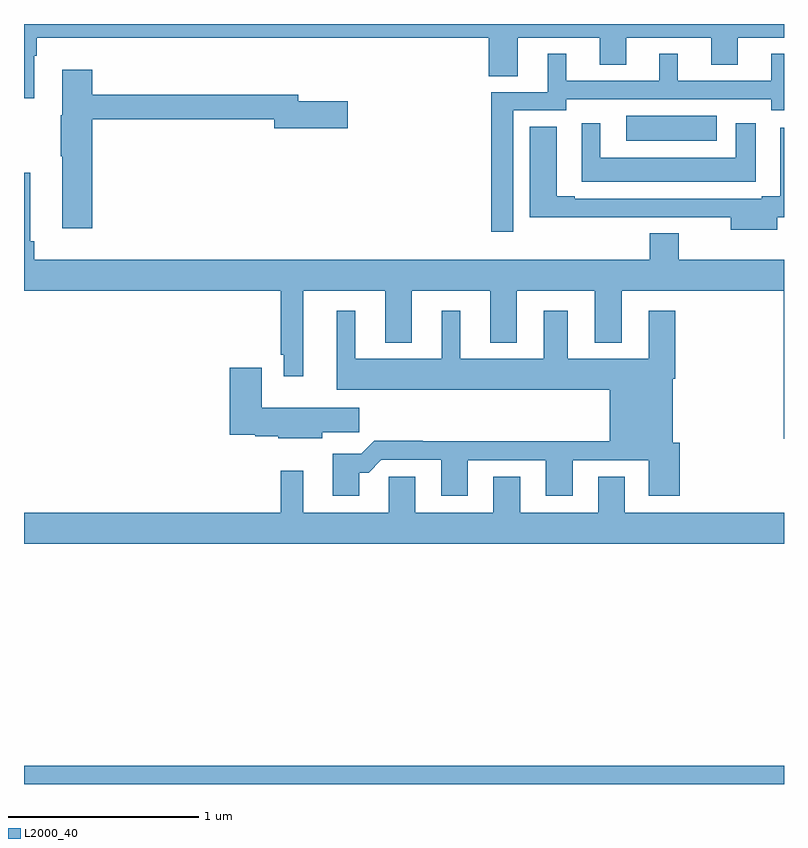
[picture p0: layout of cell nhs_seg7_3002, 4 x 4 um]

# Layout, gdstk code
import gdstk
lib = gdstk.Library(unit=1e-6, precision=1e-09)
def R(c, l, rs):  # rectangles x0, y0, x1, y1
    for r in rs: c.add(gdstk.rectangle(r[:2], r[2:], *l))
def P(c, l, *ps):  # polygons
    for p in ps: c.add(gdstk.Polygon(p, *l))
L2000_40 = (2000, 40)

nhs_seg7_3002 = lib.new_cell('nhs_seg7_3002')
R(nhs_seg7_3002, L2000_40, [(303,1018,307,1018.096), (306.171,1021.385,306.646,1021.516)])
P(nhs_seg7_3002, L2000_40, [(303.055,1021.832),(303.068,1021.832),(303.068,1021.928),(305.447,1021.928),(305.447,1021.726),(305.599,1021.726),(305.599,1021.928),(306.029,1021.928),(306.029,1021.786),(306.169,1021.786),(306.169,1021.928),(306.617,1021.928),(306.617,1021.786),(306.757,1021.786),(306.757,1021.928),(307,1021.928),(307,1022),(303,1022),(303,1021.608),(303.055,1021.608)],
  [(305.574,1021.545),(305.853,1021.545),(305.853,1021.605),(306.933,1021.605),(306.933,1021.545),(307,1021.545),(307,1021.843),(306.932,1021.843),(306.932,1021.701),(306.442,1021.701),(306.442,1021.843),(306.344,1021.843),(306.344,1021.701),(305.854,1021.701),(305.854,1021.843),(305.756,1021.843),(305.756,1021.641),(305.458,1021.641),(305.458,1020.906),(305.574,1020.906)],
  [(303.359,1021.498),(304.316,1021.498),(304.316,1021.451),(304.705,1021.451),(304.705,1021.593),(304.444,1021.593),(304.444,1021.627),(303.359,1021.627),(303.359,1021.759),(303.2,1021.759),(303.2,1021.521),(303.193,1021.521),(303.193,1021.303),(303.2,1021.303),(303.2,1020.924),(303.359,1020.924)],
  [(306.85,1021.477),(306.746,1021.477),(306.746,1021.297),(306.034,1021.297),(306.034,1021.477),(305.936,1021.477),(305.936,1021.169),(306.85,1021.169)],
  [(306.964,1020.982),(307,1020.982),(307,1021.453),(306.98,1021.453),(306.98,1021.093),(306.884,1021.093),(306.884,1021.08),(305.899,1021.08),(305.899,1021.093),(305.803,1021.093),(305.803,1021.459),(305.663,1021.459),(305.663,1020.982),(306.209,1020.982),(306.209,1020.984),(306.719,1020.984),(306.719,1020.917),(306.964,1020.917)],
  [(307,1020.76),(306.445,1020.76),(306.445,1020.899),(306.293,1020.899),(306.293,1020.76),(303.053,1020.76),(303.053,1020.856),(303.034,1020.856),(303.034,1021.216),(303,1021.216),(303,1020.596),(304.35,1020.596),(304.35,1020.259),(304.367,1020.259),(304.367,1020.147),(304.471,1020.147),(304.471,1020.596),(304.901,1020.596),(304.901,1020.323),(305.041,1020.323),(305.041,1020.596),(305.453,1020.596),(305.453,1020.323),(305.593,1020.323),(305.593,1020.596),(306.005,1020.596),(306.005,1020.323),(306.145,1020.323),(306.145,1020.596),(306.998,1020.596),(306.998,1019.817),(307,1019.817)],
  [(304.765,1019.639),(304.814,1019.639),(304.881,1019.706),(305.195,1019.706),(305.195,1019.517),(305.335,1019.517),(305.335,1019.703),(305.747,1019.703),(305.747,1019.517),(305.887,1019.517),(305.887,1019.703),(306.287,1019.703),(306.287,1019.517),(306.452,1019.517),(306.452,1019.796),(306.415,1019.796),(306.415,1020.134),(306.428,1020.134),(306.428,1020.49),(306.287,1020.49),(306.287,1020.238),(305.863,1020.238),(305.863,1020.49),(305.735,1020.49),(305.735,1020.238),(305.296,1020.238),(305.296,1020.49),(305.198,1020.49),(305.198,1020.238),(304.744,1020.238),(304.744,1020.49),(304.646,1020.49),(304.646,1020.074),(306.083,1020.074),(306.083,1019.804),(305.099,1019.804),(305.099,1019.807),(304.844,1019.807),(304.774,1019.737),(304.625,1019.737),(304.625,1019.517),(304.765,1019.517)],
  [(304.57,1019.851),(304.765,1019.851),(304.765,1019.98),(304.252,1019.98),(304.252,1020.19),(304.082,1020.19),(304.082,1019.837),(304.218,1019.837),(304.218,1019.83),(304.338,1019.83),(304.338,1019.819),(304.57,1019.819)],
  [(307,1019.428),(306.163,1019.428),(306.163,1019.618),(306.023,1019.618),(306.023,1019.428),(305.611,1019.428),(305.611,1019.618),(305.471,1019.618),(305.471,1019.428),(305.059,1019.428),(305.059,1019.618),(304.92,1019.618),(304.92,1019.428),(304.471,1019.428),(304.471,1019.65),(304.35,1019.65),(304.35,1019.428),(303,1019.428),(303,1019.264),(307,1019.264)])

lib.write_gds('nhs_seg7_3002.gds')
